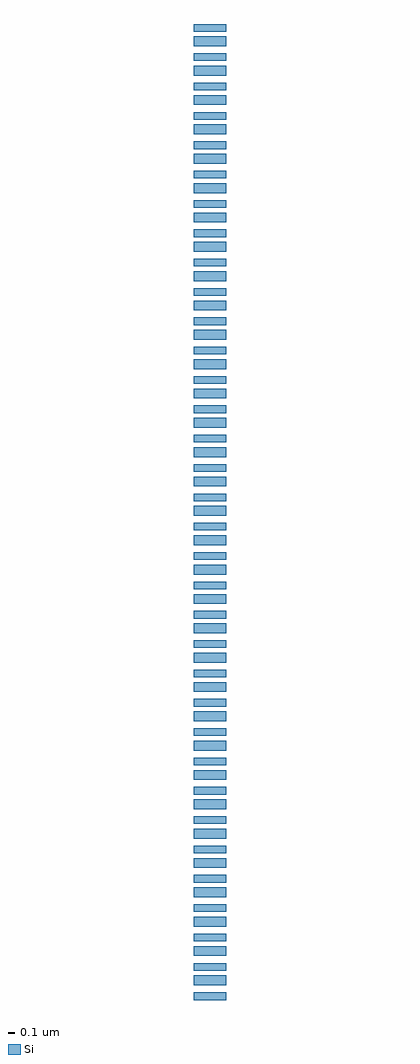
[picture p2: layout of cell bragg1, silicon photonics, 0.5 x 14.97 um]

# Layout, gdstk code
import gdstk
lib = gdstk.Library(unit=1e-6, precision=1e-09)
def R(c, l, rs):  # rectangles x0, y0, x1, y1
    for r in rs: c.add(gdstk.rectangle(r[:2], r[2:], *l))
def A(c, l, x, y, w, h, nx, ny, dx, dy):  # array of equal rectangles
    R(c, l, [(x+i*dx, y+j*dy, x+i*dx+w, y+j*dy+h) for i in range(nx) for j in range(ny)])
Si = (1, 0)

bragg1 = lib.new_cell('bragg1')
A(bragg1, Si, -0.25, 0, 0.5, 0.117, 1, 34, 0, 0.45)
A(bragg1, Si, -0.25, 0.225, 0.5, 0.151, 1, 33, 0, 0.45)

lib.write_gds('bragg1.gds')
